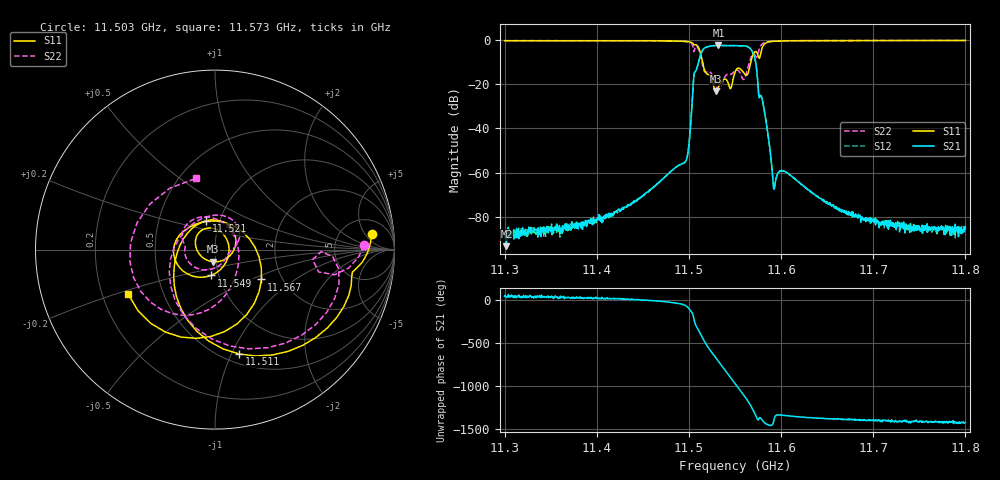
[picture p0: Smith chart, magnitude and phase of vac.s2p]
! Created with skrf (http://scikit-rf.org).
# Hz S RI R 50.0
!freq ReS11 ImS11 ReS21 ImS21 ReS12 ImS12 ReS22 ImS22
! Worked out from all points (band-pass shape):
!   1001 points, 11.3 GHz to 11.8 GHz, reference 50 ohm
!   highest |S21| = -2.47 dB at 11.532 GHz (marker M1); lowest = -93.3 dB at 11.302 GHz (marker M2)
!   |S21| within 3 dB of the highest: 11.51374 GHz to 11.56912 GHz (55.38 MHz wide, 0.48 % of centre)
!   lowest |S11| = -23.3 dB at 11.53 GHz (marker M3), VSWR 1.15, Z = 48.6 - j6.61 ohm
!   |S11| at or under -10 dB: 11.51481 GHz to 11.56714 GHz (52.33 MHz wide, 0.453 % of centre)
!   |S22| runs from -22.4 to -0.2 dB; largest |S21 - S12| = 0.0099
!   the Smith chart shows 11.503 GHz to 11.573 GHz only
!   S11 on the Smith chart (normalised r, x): 11.503 GHz: 10, +7; 11.511 GHz: 0.59, -1.07; 11.521 GHz: 0.86, +0.28; 11.549 GHz: 0.92, -0.27; 11.567 GHz: 1.57, -0.58; 11.573 GHz: 0.31, -0.22
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1.13e10  -0.7914 0.5491  2.79e-05 3.38e-05  2.31e-05 3e-05  -0.7686 0.5832
1.1302e10  -0.7878 0.5544  1.78e-05 1.22e-05  1.88e-05 3.82e-05  -0.7652 0.5881
1.13835e10  -0.578 0.77  4.97e-05 3.42e-05  6.97e-05 3.48e-05  -0.5583 0.7865
1.1467e10  0.0518 0.958  0.000588 -7.29e-05  0.000578 -6.94e-05  0.0416 0.9601
1.14965e10  0.7517 0.5452  0.000894 -0.00158  0.000886 -0.00156  0.7391 0.5552
1.1503e10  0.8737 0.0848  -0.019 -0.0185  -0.0189 -0.0183  0.8308 0.023
1.15115e10  0.1339 -0.5812  0.3781 -0.0562  0.3776 -0.0561  0.0809 -0.5364
1.1516e10  -0.2272 -0.0945  -0.139 -0.6176  -0.1377 -0.618  -0.2042 0.0555
1.15205e10  -0.0509 0.1605  -0.7062 0.02  -0.7062 0.0213  0.0225 0.1925
1.15295e10  -0.00979 -0.0678  0.5285 0.5337  0.5294 0.5341  0.0921 -0.00435
1.1532e10  -0.0798 -0.0337  0.7415 0.1269  0.7434 0.1254  0.0688 -0.0326
1.15395e10  -0.0701 0.1099  -0.1 -0.7381  -0.1068 -0.7359  -0.1191 -0.094
1.15485e10  -0.0219 -0.1438  -0.498 0.5586  -0.4962 0.5533  -0.1796 0.0511
1.155e10  -0.106 -0.1521  -0.2576 0.6975  -0.2594 0.6932  -0.1832 0.0836
1.1558e10  -0.162 0.1125  0.7403 -0.0276  0.7433 -0.028  0.0925 0.0998
1.1567e10  0.2589 -0.1664  -0.5296 -0.3364  -0.5251 -0.3282  -0.1265 -0.3634
1.1573e10  -0.485 -0.2454  0.0329 0.2623  0.0282 0.2644  -0.104 0.3974
1.15795e10  0.475 -0.4633  0.0338 0.0309  0.0335 0.0303  0.0403 -0.8111
1.15925e10  -0.7582 -0.5494  0.000239 0.000345  0.000239 0.000362  -0.8523 -0.4038
1.16335e10  -0.9208 0.2952  0.000124 0.000328  0.000128 0.000333  -0.8981 0.3637
1.1717e10  -0.6319 0.7388  5.77e-05 5.44e-05  4.96e-05 3.37e-05  -0.6038 0.7643
1.18e10  -0.3851 0.8968  5.29e-05 1.54e-05  5.6e-05 1.55e-05  -0.364 0.9056
